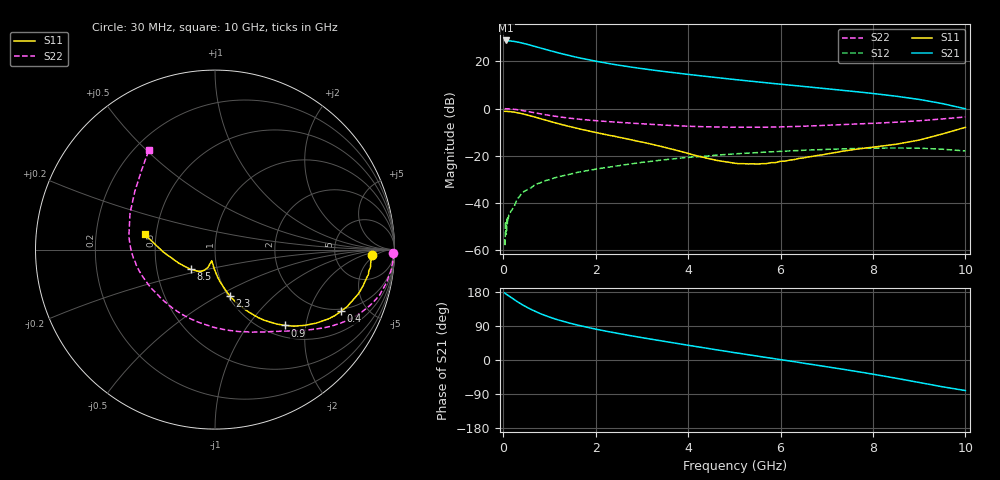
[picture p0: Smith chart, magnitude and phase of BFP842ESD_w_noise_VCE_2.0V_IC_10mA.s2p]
! Infineon Technologies  Discrete & RF Semiconductors
! BFP842ESD
! VCE =  2.0 V,  IC =  10 mA
! Common Emitter S-Parameters:  May 2012
# GHz  S  MA  R  50
!  f  S11  S21  S12  S22
! GHz  MAG  ANG  MAG  ANG  MAG  ANG  MAG  ANG
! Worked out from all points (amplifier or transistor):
!   99 points, 30 MHz to 10 GHz, reference 50 ohm
!   highest |S21| = 28.9 dB at 60 MHz (marker M1)
!   |S21| within 3 dB of that: start of sweep to 769.5 MHz
!   unconditionally stable (mu >= 1): 2.822 GHz to end of sweep
!   at 350 MHz: K = 0.27, MSG = 32.8 dB, |S12| = -37.4 dB
!   at 3.5 GHz: K = 1.05, MAG = 17.3 dB, |S12| = -21.7 dB
!   at 10 GHz: K = 1.89, MAG = 3.5 dB, |S12| = -18.0 dB
!   lowest NFmin = 0.59 dB at 450 MHz
!   S11 on the Smith chart (normalised r, x): 30 MHz: 14, -4; 400 MHz: 1.88, -3.32; 900 MHz: 1.22, -1.53; 2.3 GHz: 1.02, -0.57; 8.5 GHz: 0.74, -0.17; 10 GHz: 0.43, +0.09
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0.03  0.8777 -2.1  27.82 177.0  0.0017 33.5  0.9937 -1.2
0.04  0.8781 -2.7  27.75 176.0  0.0012 87.0  0.9925 -1.6
0.05  0.8743 -3.6  27.56 174.9  0.004 77.3  0.9945 -2.7
0.06  0.8706 -4.1  27.97 174.1  0.0021 -149.4  0.9935 -2.6
0.09  0.8721 -6.2  27.32 172.0  0.0036 92.7  0.9928 -4.3
0.11  0.8653 -7.8  27.71 169.9  0.0046 88.5  0.9908 -5.6
0.15  0.8595 -10.5  27.38 166.7  0.0062 84.5  0.9825 -7.8
0.25  0.8364 -17.1  26.59 158.5  0.009 78.8  0.9618 -13.1
0.4  0.7816 -26.1  24.73 146.8  0.0159 76.1  0.9171 -19.9
0.5  0.7398 -31.5  23.46 140.0  0.0185 68.8  0.8807 -24.0
0.6  0.6958 -36.1  22.02 133.7  0.0208 69.0  0.8445 -27.5
0.7  0.6541 -40.2  20.71 128.0  0.0246 65.7  0.8091 -30.5
0.9  0.5747 -47.3  18.23 117.8  0.0293 62.4  0.7454 -35.8
1.2  0.4764 -55.4  15.19 105.4  0.0359 58.3  0.6716 -42.0
1.4  0.4246 -59.3  13.6 98.6  0.0395 55.6  0.6332 -45.5
1.7  0.3606 -64.3  11.66 89.6  0.0458 52.2  0.5876 -50.5
2.3  0.2699 -72.2  9.015 74.3  0.0574 47.5  0.5275 -60.4
3.4  0.1589 -83.9  6.275 51.0  0.0802 35.4  0.4518 -82.0
5.1  0.0677 -104.2  4.055 17.7  0.1109 14.2  0.4018 -123.6
6.7  0.0972 -110.4  2.824 -12.1  0.1329 -7.7  0.43 -159.5
8.5  0.1751 -141.0  1.833 -48.1  0.1459 -37.5  0.5143 157.1
10  0.4004 167.8  0.991 -80.6  0.1261 -68.3  0.665 123.7
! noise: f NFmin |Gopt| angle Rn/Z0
0.45  0.59  0.14  2  0.09
0.9  0.59  0.14  5  0.09
1.5  0.61  0.15  13  0.09
1.9  0.62  0.14  21  0.08
2.4  0.63  0.12  27  0.08
3.5  0.71  0.05  116  0.08
4  0.74  0.06  139  0.08
5  0.8  0.07  -173  0.08
5.5  0.92  0.08  -153  0.09
6  1.03  0.1  -143  0.09
